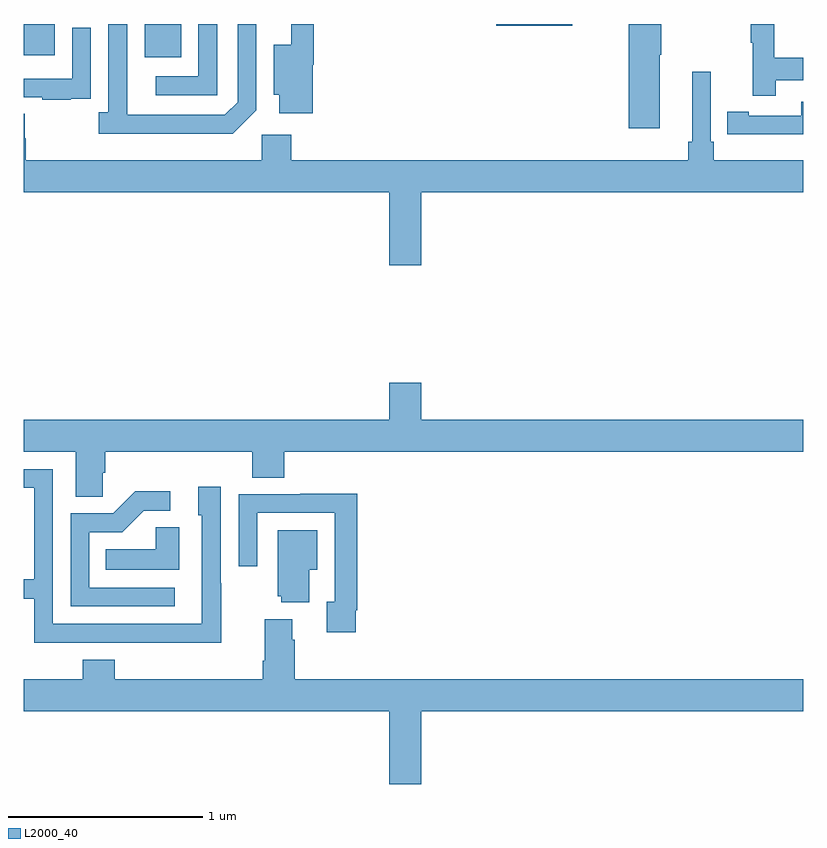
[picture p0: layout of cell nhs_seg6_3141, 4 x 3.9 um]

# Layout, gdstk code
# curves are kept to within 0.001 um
import gdstk
lib = gdstk.Library(unit=1e-6, precision=1e-09)
def R(c, l, rs):  # rectangles x0, y0, x1, y1
    for r in rs: c.add(gdstk.rectangle(r[:2], r[2:], *l))
def P(c, l, *ps):  # polygons
    for p in ps: c.add(gdstk.Polygon(p, *l))
L2000_40 = (2000, 40)

nhs_seg6_3141 = lib.new_cell('nhs_seg6_3141')
R(nhs_seg6_3141, L2000_40, [(295.619,981.329,295.807,981.5), (295,981.339,295.159,981.5), (297.426,981.491,297.814,981.5)])
P(nhs_seg6_3141, L2000_40, [(298.859,981.21),(299,981.21),(299,981.326),(298.852,981.326),(298.852,981.5),(298.731,981.5),(298.731,981.403),(298.742,981.403),(298.742,981.132),(298.859,981.132)],
  [(296.483,981.29),(296.489,981.29),(296.489,981.5),(296.372,981.5),(296.372,981.394),(296.282,981.394),(296.282,981.137),(296.312,981.137),(296.312,981.042),(296.483,981.042)],
  [(296.193,981.057),(296.193,981.5),(296.097,981.5),(296.097,981.099),(296.031,981.033),(295.531,981.033),(295.53,981.5),(295.434,981.5),(295.434,981.046),(295.383,981.046),(295.383,980.936),(296.072,980.936)],
  [(298.264,981.343),(298.272,981.343),(298.272,981.5),(298.106,981.5),(298.106,980.964),(298.264,980.964)],
  [(295.992,981.5),(295.896,981.5),(295.896,981.231),(295.677,981.231),(295.677,981.135),(295.992,981.135)],
  [(295.241,981.117),(295.343,981.117),(295.343,981.226),(295.344,981.226),(295.344,981.481),(295.248,981.481),(295.248,981.219),(295,981.219),(295,981.123),(295.093,981.123),(295.093,981.111),(295.241,981.111)],
  [(297.04,980.636),(299,980.636),(299,980.8),(298.541,980.8),(298.541,980.896),(298.527,980.896),(298.527,981.256),(298.43,981.256),(298.43,980.896),(298.411,980.896),(298.411,980.8),(296.372,980.8),(296.372,980.932),(296.22,980.932),(296.22,980.8),(295.01,980.8),(295.01,980.913),(295.005,980.913),(295.005,981.038),(295,981.038),(295,980.636),(296.876,980.636),(296.876,980.262),(297.04,980.262)],
  [(299,981.102),(298.992,981.102),(298.992,981.03),(298.72,981.03),(298.72,981.05),(298.612,981.05),(298.612,980.934),(298.72,980.934),(298.72,980.933),(299,980.933)],
  [(295.404,979.195),(295.418,979.195),(295.418,979.304),(296.171,979.304),(296.171,979.171),(296.336,979.171),(296.336,979.304),(299,979.304),(299,979.468),(297.04,979.468),(297.04,979.657),(296.876,979.657),(296.876,979.468),(295,979.468),(295,979.304),(295.265,979.304),(295.265,979.072),(295.404,979.072)],
  [(296.013,978.629),(296.01,978.629),(296.01,979.123),(295.895,979.123),(295.895,978.978),(295.914,978.978),(295.914,978.42),(295.149,978.42),(295.149,979.215),(295,979.215),(295,979.119),(295.053,979.119),(295.053,978.65),(295,978.65),(295,978.549),(295.053,978.549),(295.053,978.324),(295.549,978.324),(295.549,978.323),(296.013,978.323)],
  [(295.774,978.606),(295.335,978.606),(295.335,978.891),(295.504,978.891),(295.615,979.002),(295.75,979.002),(295.75,979.1),(295.571,979.1),(295.458,978.987),(295.239,978.987),(295.239,978.51),(295.774,978.51)],
  [(296.704,978.49),(296.711,978.49),(296.711,979.088),(296.419,979.088),(296.419,979.086),(296.103,979.086),(296.103,978.717),(296.199,978.717),(296.199,978.99),(296.595,978.99),(296.595,978.534),(296.555,978.534),(296.555,978.378),(296.704,978.378)],
  [(295.798,978.917),(295.677,978.917),(295.677,978.802),(295.42,978.802),(295.42,978.698),(295.798,978.698)],
  [(296.464,978.698),(296.506,978.698),(296.506,978.901),(296.303,978.901),(296.303,978.561),(296.321,978.561),(296.321,978.53),(296.464,978.53)],
  [(297.04,977.972),(299,977.972),(299,978.136),(296.39,978.136),(296.39,978.338),(296.377,978.338),(296.377,978.445),(296.237,978.445),(296.237,978.232),(296.225,978.232),(296.225,978.136),(295.466,978.136),(295.466,978.235),(295.301,978.235),(295.301,978.136),(295,978.136),(295,977.972),(296.876,977.972),(296.876,977.598),(297.04,977.598)])

lib.write_gds('nhs_seg6_3141.gds')
